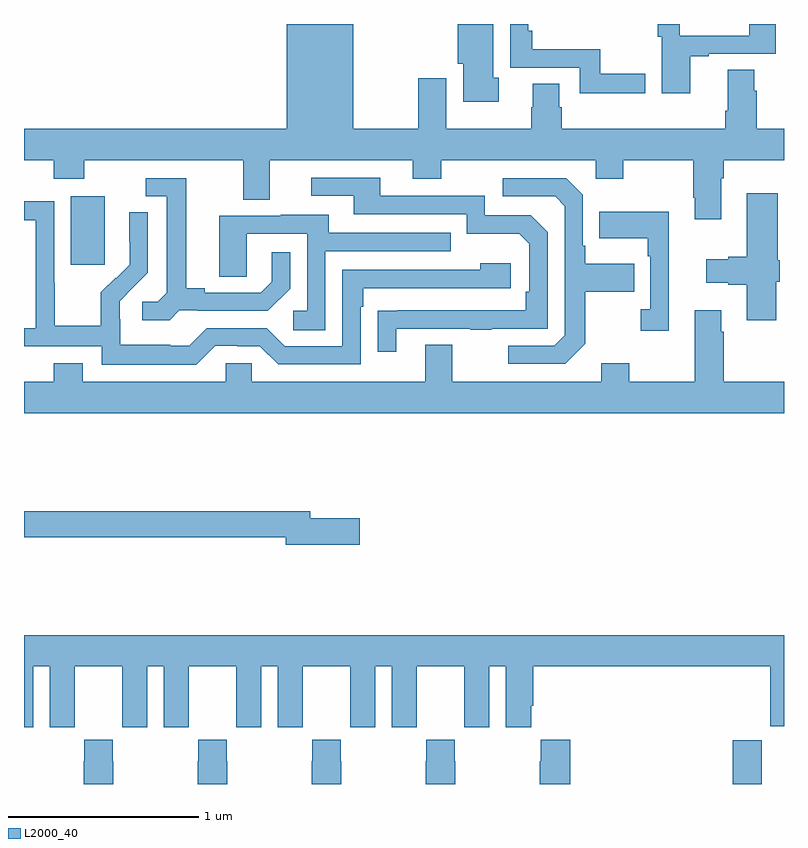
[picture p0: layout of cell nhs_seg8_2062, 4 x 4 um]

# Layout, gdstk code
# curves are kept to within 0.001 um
import gdstk
lib = gdstk.Library(unit=1e-6, precision=1e-09)
def R(c, l, rs):  # rectangles x0, y0, x1, y1
    for r in rs: c.add(gdstk.rectangle(r[:2], r[2:], *l))
def P(c, l, *ps):  # polygons
    for p in ps: c.add(gdstk.Polygon(p, *l))
L2000_40 = (2000, 40)

nhs_seg8_2062 = lib.new_cell('nhs_seg8_2062')
R(nhs_seg8_2062, L2000_40, [(244.73,1095.9,244.882,1096.131), (241.247,1098.633,241.426,1098.994)])
P(nhs_seg8_2062, L2000_40, [(244.669,1099.088),(244.682,1099.088),(244.682,1099.184),(245,1099.184),(245,1099.348),(244.856,1099.348),(244.856,1099.55),(244.843,1099.55),(244.843,1099.658),(244.703,1099.658),(244.703,1099.444),(244.691,1099.444),(244.691,1099.348),(243.83,1099.348),(243.83,1099.461),(243.817,1099.461),(243.817,1099.586),(243.677,1099.586),(243.677,1099.461),(243.67,1099.461),(243.67,1099.348),(243.223,1099.348),(243.223,1099.615),(243.076,1099.615),(243.076,1099.348),(242.734,1099.348),(242.734,1099.9),(242.384,1099.9),(242.384,1099.348),(241,1099.348),(241,1099.184),(241.157,1099.184),(241.157,1099.085),(241.317,1099.085),(241.317,1099.184),(242.153,1099.184),(242.153,1098.976),(242.293,1098.976),(242.293,1099.184),(243.047,1099.184),(243.047,1099.085),(243.195,1099.085),(243.195,1099.184),(244.008,1099.184),(244.008,1099.085),(244.155,1099.085),(244.155,1099.184),(244.522,1099.184),(244.522,1098.985),(244.529,1098.985),(244.529,1098.873),(244.669,1098.873)],
  [(243.499,1099.616),(243.469,1099.616),(243.469,1099.9),(243.284,1099.9),(243.284,1099.692),(243.311,1099.692),(243.311,1099.49),(243.499,1099.49)],
  [(244.27,1099.637),(244.033,1099.637),(244.033,1099.768),(243.674,1099.768),(243.674,1099.864),(243.654,1099.864),(243.654,1099.9),(243.558,1099.9),(243.558,1099.671),(243.924,1099.671),(243.924,1099.535),(244.27,1099.535)],
  [(244.507,1099.731),(244.603,1099.731),(244.603,1099.743),(244.957,1099.743),(244.957,1099.9),(244.817,1099.9),(244.817,1099.839),(244.452,1099.839),(244.452,1099.9),(244.336,1099.9),(244.336,1099.832),(244.356,1099.832),(244.356,1099.536),(244.507,1099.536)],
  [(242.959,1098.297),(243.349,1098.297),(243.349,1098.292),(243.461,1098.292),(243.461,1098.297),(243.756,1098.297),(243.756,1098.804),(243.666,1098.894),(243.426,1098.894),(243.426,1098.996),(242.875,1098.996),(242.875,1099.092),(242.511,1099.092),(242.511,1098.996),(242.735,1098.996),(242.735,1098.9),(243.33,1098.9),(243.33,1098.797),(243.607,1098.797),(243.66,1098.744),(243.66,1098.49),(243.64,1098.49),(243.64,1098.393),(242.863,1098.392),(242.863,1098.174),(242.959,1098.174)],
  [(243.955,1098.217),(243.955,1098.49),(244.211,1098.49),(244.211,1098.637),(243.955,1098.637),(243.955,1098.733),(243.942,1098.733),(243.942,1099.002),(243.855,1099.089),(243.519,1099.089),(243.519,1098.993),(243.795,1098.993),(243.846,1098.942),(243.846,1098.261),(243.792,1098.207),(243.549,1098.207),(243.549,1098.111),(243.849,1098.111)],
  [(241.818,1098.393),(241.912,1098.393),(241.912,1098.39),(242.284,1098.39),(242.4,1098.506),(242.4,1098.7),(242.303,1098.7),(242.303,1098.543),(242.246,1098.486),(241.951,1098.486),(241.951,1098.509),(241.855,1098.509),(241.855,1099.089),(241.641,1099.089),(241.641,1098.993),(241.751,1098.993),(241.751,1098.485),(241.704,1098.438),(241.623,1098.438),(241.623,1098.341),(241.766,1098.341)],
  [(244.96,1098.543),(244.978,1098.543),(244.978,1098.657),(244.968,1098.657),(244.968,1099.009),(244.805,1099.009),(244.805,1098.674),(244.706,1098.674),(244.706,1098.661),(244.59,1098.661),(244.59,1098.539),(244.706,1098.539),(244.706,1098.527),(244.805,1098.527),(244.805,1098.342),(244.96,1098.342)],
  [(242.007,1098.207),(242.123,1098.207),(242.123,1098.204),(242.241,1098.204),(242.337,1098.108),(242.772,1098.108),(242.772,1098.413),(242.785,1098.413),(242.785,1098.51),(243.562,1098.51),(243.562,1098.64),(243.401,1098.64),(243.401,1098.606),(242.676,1098.606),(242.676,1098.204),(242.373,1098.204),(242.277,1098.3),(241.962,1098.3),(241.869,1098.207),(241.769,1098.207),(241.769,1098.211),(241.506,1098.211),(241.506,1098.345),(241.504,1098.345),(241.504,1098.442),(241.65,1098.59),(241.65,1098.908),(241.554,1098.908),(241.554,1098.754),(241.556,1098.754),(241.556,1098.632),(241.485,1098.561),(241.482,1098.564),(241.405,1098.487),(241.405,1098.313),(241.161,1098.313),(241.161,1098.536),(241.158,1098.536),(241.158,1098.966),(241,1098.966),(241,1098.867),(241.062,1098.867),(241.062,1098.3),(241,1098.3),(241,1098.204),(241.41,1098.204),(241.41,1098.107),(241.907,1098.107)],
  [(244.394,1098.913),(244.027,1098.913),(244.027,1098.773),(244.284,1098.773),(244.284,1098.677),(244.296,1098.677),(244.296,1098.398),(244.245,1098.398),(244.245,1098.285),(244.394,1098.285)],
  [(242.586,1098.705),(243.245,1098.705),(243.245,1098.801),(242.605,1098.801),(242.605,1098.895),(242.351,1098.895),(242.351,1098.891),(242.027,1098.891),(242.027,1098.571),(242.172,1098.571),(242.172,1098.795),(242.49,1098.795),(242.49,1098.39),(242.418,1098.39),(242.418,1098.289),(242.586,1098.289)],
  [(245,1098.016),(244.682,1098.016),(244.682,1098.281),(244.669,1098.281),(244.669,1098.394),(244.529,1098.394),(244.529,1098.016),(244.185,1098.016),(244.185,1098.115),(244.037,1098.115),(244.037,1098.016),(243.253,1098.016),(243.253,1098.211),(243.113,1098.211),(243.113,1098.016),(242.199,1098.016),(242.199,1098.114),(242.061,1098.114),(242.061,1098.016),(241.309,1098.016),(241.309,1098.115),(241.157,1098.115),(241.157,1098.016),(241,1098.016),(241,1097.852),(245,1097.852)],
  [(242.767,1097.3),(242.506,1097.3),(242.506,1097.336),(241,1097.336),(241,1097.2),(242.378,1097.2),(242.378,1097.158),(242.767,1097.158)],
  [(241,1096.2),(241.048,1096.2),(241.048,1096.52),(241.136,1096.52),(241.136,1096.2),(241.266,1096.2),(241.266,1096.312),(241.267,1096.312),(241.267,1096.52),(241.517,1096.52),(241.517,1096.312),(241.518,1096.312),(241.518,1096.2),(241.648,1096.2),(241.648,1096.52),(241.736,1096.52),(241.736,1096.2),(241.866,1096.2),(241.866,1096.312),(241.867,1096.312),(241.867,1096.52),(242.117,1096.52),(242.117,1096.312),(242.118,1096.312),(242.118,1096.2),(242.248,1096.2),(242.248,1096.52),(242.336,1096.52),(242.336,1096.2),(242.466,1096.2),(242.466,1096.312),(242.467,1096.312),(242.467,1096.52),(242.717,1096.52),(242.717,1096.312),(242.718,1096.312),(242.718,1096.2),(242.848,1096.2),(242.848,1096.52),(242.936,1096.52),(242.936,1096.2),(243.066,1096.2),(243.066,1096.312),(243.067,1096.312),(243.067,1096.52),(243.317,1096.52),(243.317,1096.312),(243.318,1096.312),(243.318,1096.2),(243.448,1096.2),(243.448,1096.52),(243.536,1096.52),(243.536,1096.2),(243.67,1096.2),(243.67,1096.312),(243.68,1096.312),(243.68,1096.52),(244.928,1096.52),(244.928,1096.203),(245,1096.203),(245,1096.684),(241,1096.684)],
  [(243.875,1096.132),(243.721,1096.132),(243.721,1096.019),(243.715,1096.019),(243.715,1095.9),(243.875,1095.9)],
  [(243.27,1096.019),(243.267,1096.019),(243.267,1096.132),(243.117,1096.132),(243.117,1096.019),(243.115,1096.019),(243.115,1095.9),(243.27,1095.9)],
  [(242.67,1096.019),(242.667,1096.019),(242.667,1096.132),(242.517,1096.132),(242.517,1096.019),(242.515,1096.019),(242.515,1095.9),(242.67,1095.9)],
  [(242.07,1096.019),(242.067,1096.019),(242.067,1096.132),(241.917,1096.132),(241.917,1096.019),(241.915,1096.019),(241.915,1095.9),(242.07,1095.9)],
  [(241.47,1096.019),(241.467,1096.019),(241.467,1096.132),(241.317,1096.132),(241.317,1096.019),(241.315,1096.019),(241.315,1095.9),(241.47,1095.9)])

lib.write_gds('nhs_seg8_2062.gds')
